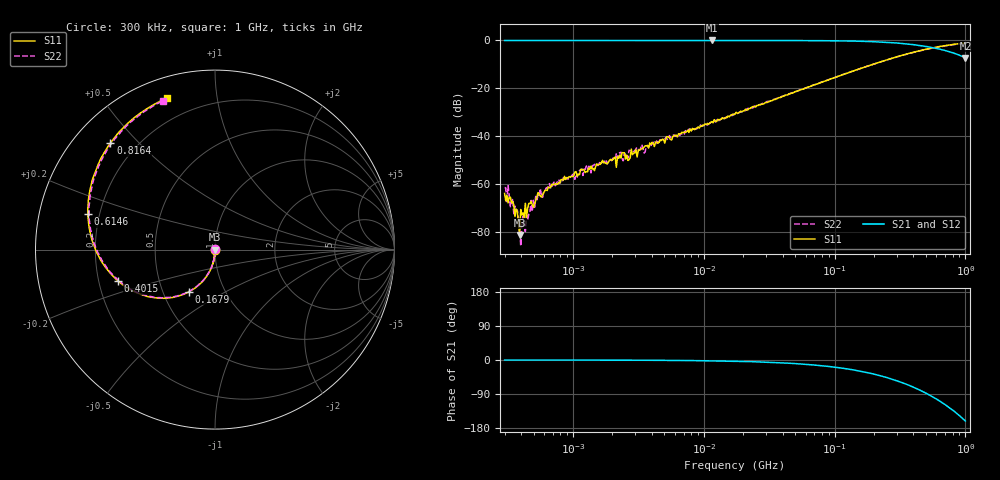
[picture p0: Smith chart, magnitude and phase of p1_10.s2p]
#  HZ  S  RI  R  50
! Rohde & Schwarz ZVA/B
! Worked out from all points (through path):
!   401 points, 300 kHz to 1 GHz, reference 50 ohm
!   highest |S21| = 0.01 dB at 11.55 MHz (marker M1); lowest = -7.3 dB at 1 GHz (marker M2)
!   group delay of S21, straight-line fit = 467 ps
!   lowest |S11| = -81.4 dB at 390.5 kHz (marker M3), VSWR 1.00, Z = 50 - j0.00851 ohm
!   |S11| at or under -10 dB: start of sweep to 195.8 MHz
!   |S22| runs from -86.1 to -1.1 dB; largest |S21 - S12| = 0.0037
!   S11 on the Smith chart (normalised r, x): 300 kHz: 1.00, +0.00; 167.9 MHz: 0.68, -0.34; 401.5 MHz: 0.28, -0.15; 614.6 MHz: 0.15, +0.13; 816.4 MHz: 0.11, +0.42; 1 GHz: 0.09, +0.73
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300000  0.000605 0.000176  0.9999 -0.00088  1 -0.00153  0.000355 0.000764
332014.6  0.000528 1.21e-05  0.9999 -0.000967  1 -0.00146  0.000186 0.000274
338816.4  0.000391 9.93e-05  0.9998 -0.00129  1 -0.00107  0.000265 0.000295
374973.4  0.000183 -0.000193  0.9998 -0.00119  0.9998 -0.00154  0.000107 0.000262
390494.4  -5.66e-07 -8.51e-05  1 -0.00155  1 -0.00136  0.000159 -9.83e-06
406657.9  3.04e-05 -0.000222  0.9999 -0.00121  1 -0.00128  7.84e-06 -0.000131
414988.8  0.000241 -6.18e-05  0.9996 -0.00135  1 -0.0014  -0.000111 -0.000174
540169.4  -3.56e-05 -0.000656  0.9998 -0.00183  0.9999 -0.00182  -0.000182 -0.00056
635312.7  6.11e-05 -0.000724  0.9999 -0.00211  1 -0.00202  -0.000365 -0.000741
1167356  0.000137 -0.00201  0.9995 -0.00379  0.9999 -0.00424  -0.000544 -0.00198
2373861  -0.00051 -0.00448  0.9989 -0.00717  0.9999 -0.00781  -0.000771 -0.00324
2627189  0.000201 -0.00308  0.999 -0.00868  0.9999 -0.00785  0.000339 -0.00343
4542403  -0.000421 -0.00734  1.001 -0.0141  0.9983 -0.016  0.000351 -0.00758
1.15456e7  -0.000805 -0.0201  1.001 -0.0395  0.9996 -0.0392  -0.000994 -0.0189
1.732051e7  -0.00083 -0.0287  0.9979 -0.0582  0.9978 -0.0566  -0.00193 -0.03
6.739735e7  -0.0251 -0.1111  0.9666 -0.22  0.9675 -0.2197  -0.0251 -0.1117
1.678675e8  -0.1438 -0.2344  0.817 -0.4997  0.8168 -0.5011  -0.1458 -0.2332
2.622557e8  -0.3059 -0.2708  0.6031 -0.6772  0.6032 -0.6782  -0.3054 -0.2677
4.014913e8  -0.5405 -0.1745  0.2544 -0.7762  0.2553 -0.7766  -0.537 -0.1722
6.146491e8  -0.7088 0.1972  -0.1756 -0.6496  -0.1756 -0.6486  -0.701 0.1901
8.164471e8  -0.5822 0.5948  -0.382 -0.3858  -0.3825 -0.3855  -0.5875 0.5763
1e9  -0.2682 0.8445  -0.4094 -0.1402  -0.4098 -0.1411  -0.2919 0.8288
